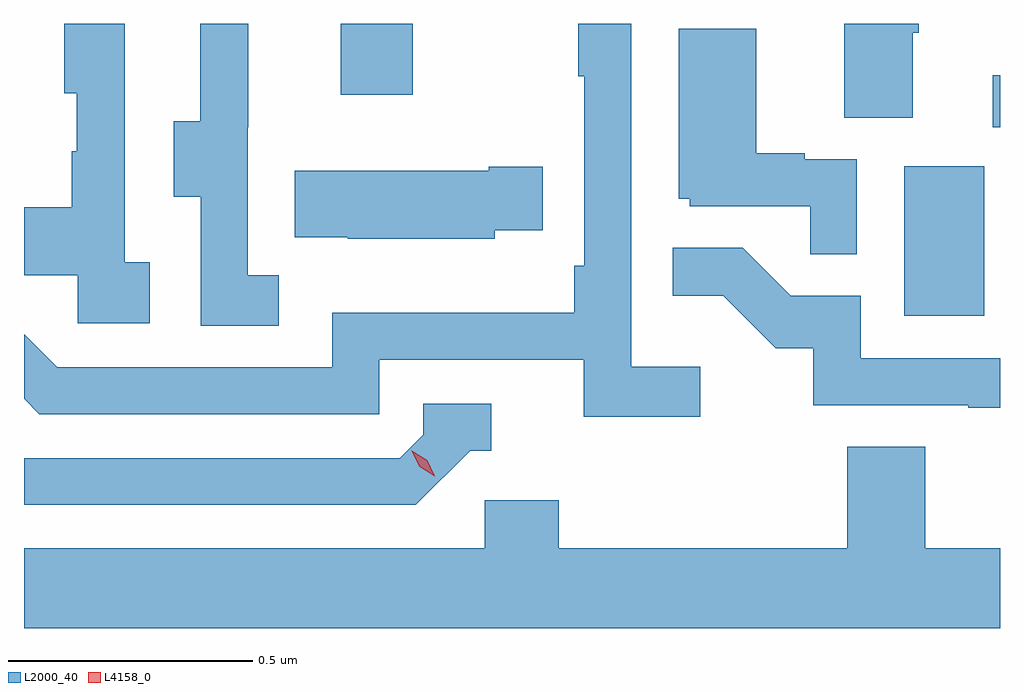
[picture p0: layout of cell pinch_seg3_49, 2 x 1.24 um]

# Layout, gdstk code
import gdstk
lib = gdstk.Library(unit=1e-6, precision=1e-09)
def R(c, l, rs):  # rectangles x0, y0, x1, y1
    for r in rs: c.add(gdstk.rectangle(r[:2], r[2:], *l))
def P(c, l, *ps):  # polygons
    for p in ps: c.add(gdstk.Polygon(p, *l))
L2000_40 = (2000, 40)
L4158_0 = (4158, 0)

pinch_seg3_49 = lib.new_cell('pinch_seg3_49')
R(pinch_seg3_49, L2000_40, [(1058.912,741.516,1059.076,741.823), (1059.093,741.903,1059.108,742.009), (1057.757,741.969,1057.905,742.115)])
P(pinch_seg3_49, L2000_40, [(1058.929,742.096),(1058.942,742.096),(1058.942,742.115),(1058.789,742.115),(1058.789,741.922),(1058.929,741.922)],
  [(1057.63,741.599),(1057.566,741.599),(1057.566,741.903),(1057.568,741.903),(1057.568,742.115),(1057.469,742.115),(1057.469,741.915),(1057.415,741.915),(1057.415,741.76),(1057.47,741.76),(1057.47,741.496),(1057.63,741.496)],
  [(1057.366,741.626),(1057.314,741.626),(1057.314,742.115),(1057.19,742.115),(1057.19,741.972),(1057.216,741.972),(1057.216,741.854),(1057.206,741.854),(1057.206,741.739),(1057.108,741.739),(1057.108,741.599),(1057.218,741.599),(1057.218,741.501),(1057.366,741.501)],
  [(1058.494,741.412),(1058.352,741.412),(1058.352,742.115),(1058.244,742.115),(1058.244,742.007),(1058.256,742.007),(1058.256,741.619),(1058.236,741.619),(1058.236,741.523),(1057.74,741.523),(1057.74,741.411),(1057.176,741.411),(1057.108,741.479),(1057.108,741.346),(1057.139,741.315),(1057.836,741.315),(1057.836,741.426),(1058.255,741.426),(1058.255,741.31),(1058.494,741.31)],
  [(1058.814,741.837),(1058.708,741.837),(1058.708,741.85),(1058.608,741.85),(1058.608,742.105),(1058.45,742.105),(1058.45,741.756),(1058.472,741.756),(1058.472,741.741),(1058.719,741.741),(1058.719,741.643),(1058.814,741.643)],
  [(1058.073,741.692),(1058.171,741.692),(1058.171,741.822),(1058.06,741.822),(1058.06,741.814),(1057.663,741.814),(1057.663,741.677),(1057.771,741.677),(1057.771,741.674),(1058.073,741.674)],
  [(1059.108,741.429),(1058.823,741.429),(1058.823,741.558),(1058.679,741.558),(1058.581,741.656),(1058.437,741.656),(1058.437,741.557),(1058.541,741.557),(1058.648,741.45),(1058.725,741.45),(1058.725,741.333),(1059.043,741.333),(1059.043,741.328),(1059.108,741.328)],
  [(1058.022,741.24),(1058.065,741.24),(1058.065,741.336),(1057.926,741.336),(1057.926,741.273),(1057.878,741.225),(1057.108,741.225),(1057.108,741.129),(1057.911,741.129)],
  [(1059.108,741.04),(1058.955,741.04),(1058.955,741.248),(1058.795,741.248),(1058.795,741.04),(1058.204,741.04),(1058.204,741.138),(1058.052,741.138),(1058.052,741.04),(1057.108,741.04),(1057.108,740.876),(1059.108,740.876)])
P(pinch_seg3_49, L4158_0, [(1057.95,741.188),(1057.919,741.207),(1057.903,741.239),(1057.903,741.24),(1057.903,741.24),(1057.934,741.22),(1057.95,741.188),(1057.95,741.188)])

lib.write_gds('pinch_seg3_49.gds')
